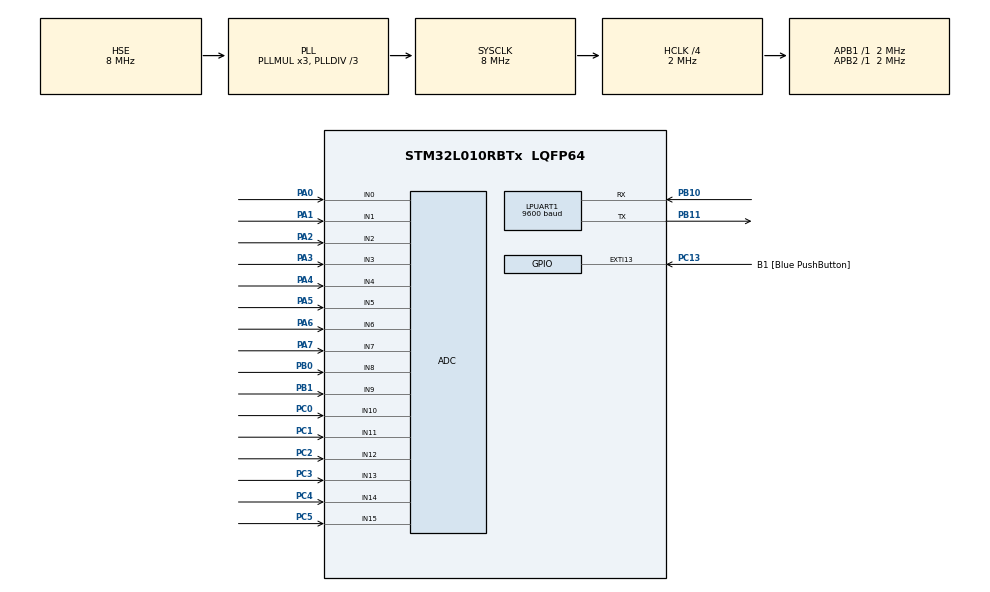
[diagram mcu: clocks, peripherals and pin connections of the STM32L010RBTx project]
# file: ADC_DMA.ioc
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ADC.ContinuousConvMode=ENABLE
ADC.DMAContinuousRequests=ENABLE
ADC.OversamplingMode=ENABLE
ADC.Ratio=ADC_OVERSAMPLING_RATIO_64
ADC.RightBitShift=ADC_RIGHTBITSHIFT_4
ADC.SamplingTime=ADC_SAMPLETIME_160CYCLES_5
Dma.ADC.0.Direction=DMA_PERIPH_TO_MEMORY
Dma.ADC.0.Instance=DMA1_Channel1
Dma.ADC.0.MemDataAlignment=DMA_MDATAALIGN_HALFWORD
Dma.ADC.0.MemInc=DMA_MINC_ENABLE
Dma.ADC.0.Mode=DMA_CIRCULAR
Dma.ADC.0.PeriphDataAlignment=DMA_PDATAALIGN_HALFWORD
Dma.ADC.0.PeriphInc=DMA_PINC_DISABLE
Dma.ADC.0.Priority=DMA_PRIORITY_LOW
Dma.Request0=ADC
LPUART1.BaudRate=9600
LPUART1.WordLength=UART_WORDLENGTH_8B
Mcu.Family=STM32L0
Mcu.Name=STM32L010RBTx
Mcu.Package=LQFP64
NVIC.DMA1_Channel1_IRQn=true\:0\:0\:false\:false\:true\:false\:true
NVIC.LPUART1_IRQn=true\:0\:0\:false\:false\:true\:true\:true
PA0.Mode=IN0
PA0.Signal=ADC_IN0
PA1.Mode=IN1
PA1.Signal=ADC_IN1
PA13.GPIO_Label=TMS
PA13.Mode=Serial_Wire
PA13.Signal=SYS_SWDIO
PA14.GPIO_Label=TCK
PA14.Mode=Serial_Wire
PA14.Signal=SYS_SWCLK
PA2.Mode=IN2
PA2.Signal=ADC_IN2
PA3.Mode=IN3
PA3.Signal=ADC_IN3
PA4.Mode=IN4
PA4.Signal=ADC_IN4
PA5.Mode=IN5
PA5.Signal=ADC_IN5
PA6.Mode=IN6
PA6.Signal=ADC_IN6
PA7.Mode=IN7
PA7.Signal=ADC_IN7
PB0.Mode=IN8
PB0.Signal=ADC_IN8
PB1.Mode=IN9
PB1.Signal=ADC_IN9
PB10.GPIO_PuPd=GPIO_PULLDOWN
PB10.GPIO_Speed=GPIO_SPEED_FREQ_LOW
PB10.Mode=Asynchronous
PB10.Signal=LPUART1_RX
PB11.GPIO_Speed=GPIO_SPEED_FREQ_LOW
PB11.Mode=Asynchronous
PB11.Signal=LPUART1_TX
PC0.Mode=IN10
PC0.Signal=ADC_IN10
PC1.Mode=IN11
PC1.Signal=ADC_IN11
PC13.GPIO_Label=B1 [Blue PushButton]
PC13.GPIO_ModeDefaultEXTI=GPIO_MODE_IT_FALLING
PC13.Signal=GPXTI13
PC14-OSC32_IN.Mode=LSE-External-Oscillator
PC14-OSC32_IN.Signal=RCC_OSC32_IN
PC15-OSC32_OUT.Mode=LSE-External-Oscillator
PC15-OSC32_OUT.Signal=RCC_OSC32_OUT
PC2.Mode=IN12
PC2.Signal=ADC_IN12
PC3.Mode=IN13
PC3.Signal=ADC_IN13
PC4.Mode=IN14
PC4.Signal=ADC_IN14
PC5.Mode=IN15
PC5.Signal=ADC_IN15
PH0-OSC_IN.GPIO_Label=MCO
PH0-OSC_IN.Mode=HSE-External-Clock-Source
PH0-OSC_IN.Signal=RCC_OSC_IN
ProjectManager.HeapSize=0x200
ProjectManager.StackSize=0x400
ProjectManager.TargetToolchain=TrueSTUDIO
RCC.AHBCLKDivider=RCC_SYSCLK_DIV4
RCC.AHBFreq_Value=2000000
RCC.APB1Freq_Value=2000000
RCC.APB1TimFreq_Value=2000000
RCC.APB2Freq_Value=2000000
RCC.APB2TimFreq_Value=2000000
RCC.HCLKFreq_Value=2000000
RCC.HSE_VALUE=8000000
RCC.HSI16_VALUE=16000000
RCC.HSI48_VALUE=48000000
RCC.HSI_VALUE=16000000
RCC.MSIClockRange=RCC_MSIRANGE_4
RCC.MSI_VALUE=1048000
RCC.PLLDIV=RCC_PLLDIV_3
RCC.PLLSourceVirtual=RCC_PLLSOURCE_HSE
RCC.SYSCLKFreq_VALUE=8000000
RCC.SYSCLKSource=RCC_SYSCLKSOURCE_PLLCLK
RCC.VCOOutputFreq_Value=24000000
VP_TIM2_VS_ClockSourceINT.Mode=Internal
board=NUCLEO-L010RB

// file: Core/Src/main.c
/* USER CODE BEGIN Header */
/**
  ******************************************************************************
  * @file           : main.c
  * @brief          : Main program body
  ******************************************************************************
  * @attention
  *
  * <h2><center>&copy; Copyright (c) 2022 STMicroelectronics.
  * All rights reserved.</center></h2>
  *
  * This software component is licensed by ST under BSD 3-Clause license,
  * the "License"; You may not use this file except in compliance with the
  * License. You may obtain a copy of the License at:
  *                        opensource.org/licenses/BSD-3-Clause
  *
  ******************************************************************************
  */
/* USER CODE END Header */
#include "main.h"

/* USER CODE BEGIN Includes */
#include <string.h>
/* USER CODE END Includes */

ADC_HandleTypeDef hadc;
DMA_HandleTypeDef hdma_adc;

UART_HandleTypeDef hlpuart1;

TIM_HandleTypeDef htim2;

/* USER CODE BEGIN PV */
void HAL_Delay(uint32_t Delay)
{
  uint32_t tickstart = HAL_GetTick();
  uint32_t wait = Delay;

  /* Add a freq to guarantee minimum wait */
  if (wait < HAL_MAX_DELAY)
  {
    wait += (uint32_t)(uwTickFreq);
  }

  while((HAL_GetTick() - tickstart) < wait)
  {
	  __WFI();
  }
}
/* USER CODE END PV */

void SystemClock_Config(void);
static void MX_GPIO_Init(void);
static void MX_DMA_Init(void);
static void MX_ADC_Init(void);
static void MX_LPUART1_UART_Init(void);
static void MX_TIM2_Init(void);

/* USER CODE BEGIN 0 */
uint16_t adcValue[16];
uint16_t adcValuesInScale[16];
char buffer;
uint8_t flagBuffer = 0;
uint8_t flagMaxVal = 0;
/* USER CODE END 0 */

int main(void)
{

  /* MCU Configuration--------------------------------------------------------*/

  /* Reset of all peripherals, Initializes the Flash interface and the Systick. */
  HAL_Init();

  /* Configure the system clock */
  SystemClock_Config();

  /* Initialize all configured peripherals */
  MX_GPIO_Init();
  MX_DMA_Init();
  MX_ADC_Init();
  MX_LPUART1_UART_Init();
  MX_TIM2_Init();
  /* USER CODE BEGIN 2 */

  HAL_Delay(200);
  HAL_GPIO_WritePin(B1_GPIO_Port, B1_Pin, SET);
  HAL_Delay(1000);
  HAL_ADCEx_Calibration_Start(&hadc, ADC_SINGLE_ENDED);
  HAL_ADC_Start_DMA(&hadc, (uint32_t*)adcValue, 16);
  HAL_ADC_Start_IT(&hadc);
  HAL_UART_Transmit(&hlpuart1, (uint8_t*)"Start_transmision", strlen("Start_transmision"), 500);
  HAL_Delay(1000);
  HAL_TIM_Base_Start_IT(&htim2);
  /* USER CODE END 2 */

  /* Infinite loop */
  /* USER CODE BEGIN WHILE */
  while (1)
  {
	  HAL_UART_Receive_IT(&hlpuart1, (uint8_t*)&buffer,1);
	  if(buffer == '1') flagBuffer = 1;
	  if(buffer == '2') flagBuffer = 0;
    /* USER CODE END WHILE */

	  uint8_t i = 0;
	  uint8_t max = 0;
	  char *adcAsChar;
	  if(flagBuffer==1){
		  char finalString[18]={0};
		  while(i<=15){
			  uint16_t y=(uint16_t)(adcValue[i]/16);
			  adcValuesInScale[i]=(-5500-300*y)/(y-3500)/2;
			  if (adcValuesInScale[i]>max) {
				  max = adcValuesInScale[i];
			  }
			  if (adcValuesInScale[i]<0) adcValuesInScale[i]=0;
			  adcValuesInScale[i] = adcValuesInScale[i]+40;
			  adcAsChar = (char*)(&adcValuesInScale[i]);
			  strcat(finalString,adcAsChar);
			  i++;
		  }
		  strncat(finalString, "\r\n",2);
		  if (max>5){
			  HAL_UART_Transmit(&hlpuart1, (uint8_t*)&finalString[0], 18, 100);
			  HAL_Delay(150);
		  } else {
			  HAL_Delay(500);
		  }

	  }
  }
}

void SystemClock_Config(void)
{
  RCC_OscInitTypeDef RCC_OscInitStruct = {0};
  RCC_ClkInitTypeDef RCC_ClkInitStruct = {0};
  RCC_PeriphCLKInitTypeDef PeriphClkInit = {0};

  /** Configure the main internal regulator output voltage
  */
  __HAL_PWR_VOLTAGESCALING_CONFIG(PWR_REGULATOR_VOLTAGE_SCALE1);
  /** Initializes the RCC Oscillators according to the specified parameters
  * in the RCC_OscInitTypeDef structure.
  */
  RCC_OscInitStruct.OscillatorType = RCC_OSCILLATORTYPE_HSE;
  RCC_OscInitStruct.HSEState = RCC_HSE_BYPASS;
  RCC_OscInitStruct.PLL.PLLState = RCC_PLL_ON;
  RCC_OscInitStruct.PLL.PLLSource = RCC_PLLSOURCE_HSE;
  RCC_OscInitStruct.PLL.PLLMUL = RCC_PLLMUL_3;
  RCC_OscInitStruct.PLL.PLLDIV = RCC_PLLDIV_3;
  if (HAL_RCC_OscConfig(&RCC_OscInitStruct) != HAL_OK)
  {
    Error_Handler();
  }
  /** Initializes the CPU, AHB and APB buses clocks
  */
  RCC_ClkInitStruct.ClockType = RCC_CLOCKTYPE_HCLK|RCC_CLOCKTYPE_SYSCLK
                              |RCC_CLOCKTYPE_PCLK1|RCC_CLOCKTYPE_PCLK2;
  RCC_ClkInitStruct.SYSCLKSource = RCC_SYSCLKSOURCE_PLLCLK;
  RCC_ClkInitStruct.AHBCLKDivider = RCC_SYSCLK_DIV4;
  RCC_ClkInitStruct.APB1CLKDivider = RCC_HCLK_DIV1;
  RCC_ClkInitStruct.APB2CLKDivider = RCC_HCLK_DIV1;

  if (HAL_RCC_ClockConfig(&RCC_ClkInitStruct, FLASH_LATENCY_0) != HAL_OK)
  {
    Error_Handler();
  }
  PeriphClkInit.PeriphClockSelection = RCC_PERIPHCLK_LPUART1;
  PeriphClkInit.Lpuart1ClockSelection = RCC_LPUART1CLKSOURCE_PCLK1;
  if (HAL_RCCEx_PeriphCLKConfig(&PeriphClkInit) != HAL_OK)
  {
    Error_Handler();
  }
}

static void MX_ADC_Init(void)
{

  ADC_ChannelConfTypeDef sConfig = {0};

  /** Configure the global features of the ADC (Clock, Resolution, Data Alignment and number of conversion)
  */
  hadc.Instance = ADC1;
  hadc.Init.OversamplingMode = ENABLE;
  hadc.Init.Oversample.Ratio = ADC_OVERSAMPLING_RATIO_64;
  hadc.Init.Oversample.RightBitShift = ADC_RIGHTBITSHIFT_4;
  hadc.Init.Oversample.TriggeredMode = ADC_TRIGGEREDMODE_SINGLE_TRIGGER;
  hadc.Init.ClockPrescaler = ADC_CLOCK_SYNC_PCLK_DIV1;
  hadc.Init.Resolution = ADC_RESOLUTION_12B;
  hadc.Init.SamplingTime = ADC_SAMPLETIME_160CYCLES_5;
  hadc.Init.ScanConvMode = ADC_SCAN_DIRECTION_FORWARD;
  hadc.Init.DataAlign = ADC_DATAALIGN_RIGHT;
  hadc.Init.ContinuousConvMode = ENABLE;
  hadc.Init.DiscontinuousConvMode = DISABLE;
  hadc.Init.ExternalTrigConvEdge = ADC_EXTERNALTRIGCONVEDGE_NONE;
  hadc.Init.ExternalTrigConv = ADC_SOFTWARE_START;
  hadc.Init.DMAContinuousRequests = ENABLE;
  hadc.Init.EOCSelection = ADC_EOC_SINGLE_CONV;
  hadc.Init.Overrun = ADC_OVR_DATA_PRESERVED;
  hadc.Init.LowPowerAutoWait = DISABLE;
  hadc.Init.LowPowerFrequencyMode = ENABLE;
  hadc.Init.LowPowerAutoPowerOff = DISABLE;
  if (HAL_ADC_Init(&hadc) != HAL_OK)
  {
    Error_Handler();
  }
  /** Configure for the selected ADC regular channel to be converted.
  */
  sConfig.Channel = ADC_CHANNEL_0;
  sConfig.Rank = ADC_RANK_CHANNEL_NUMBER;
  if (HAL_ADC_ConfigChannel(&hadc, &sConfig) != HAL_OK)
  {
    Error_Handler();
  }
  /** Configure for the selected ADC regular channel to be converted.
  */
  sConfig.Channel = ADC_CHANNEL_1;
  if (HAL_ADC_ConfigChannel(&hadc, &sConfig) != HAL_OK)
  {
    Error_Handler();
  }
  /** Configure for the selected ADC regular channel to be converted.
  */
  sConfig.Channel = ADC_CHANNEL_2;
  if (HAL_ADC_ConfigChannel(&hadc, &sConfig) != HAL_OK)
  {
    Error_Handler();
  }
  /** Configure for the selected ADC regular channel to be converted.
  */
  sConfig.Channel = ADC_CHANNEL_3;
  if (HAL_ADC_ConfigChannel(&hadc, &sConfig) != HAL_OK)
  {
    Error_Handler();
  }
  /** Configure for the selected ADC regular channel to be converted.
  */
  sConfig.Channel = ADC_CHANNEL_4;
  if (HAL_ADC_ConfigChannel(&hadc, &sConfig) != HAL_OK)
  {
    Error_Handler();
  }
  /** Configure for the selected ADC regular channel to be converted.
  */
  sConfig.Channel = ADC_CHANNEL_5;
  if (HAL_ADC_ConfigChannel(&hadc, &sConfig) != HAL_OK)
  {
    Error_Handler();
  }
  /** Configure for the selected ADC regular channel to be converted.
  */
  sConfig.Channel = ADC_CHANNEL_6;
  if (HAL_ADC_ConfigChannel(&hadc, &sConfig) != HAL_OK)
  {
    Error_Handler();
  }
  /** Configure for the selected ADC regular channel to be converted.
  */
  sConfig.Channel = ADC_CHANNEL_7;
  if (HAL_ADC_ConfigChannel(&hadc, &sConfig) != HAL_OK)
  {
    Error_Handler();
  }
  /** Configure for the selected ADC regular channel to be converted.
  */
  sConfig.Channel = ADC_CHANNEL_8;
  if (HAL_ADC_ConfigChannel(&hadc, &sConfig) != HAL_OK)
  {
    Error_Handler();
  }
  /** Configure for the selected ADC regular channel to be converted.
  */
  sConfig.Channel = ADC_CHANNEL_9;
  if (HAL_ADC_ConfigChannel(&hadc, &sConfig) != HAL_OK)
  {
    Error_Handler();
  }
  /** Configure for the selected ADC regular channel to be converted.
  */
  sConfig.Channel = ADC_CHANNEL_10;
  if (HAL_ADC_ConfigChannel(&hadc, &sConfig) != HAL_OK)
  {
    Error_Handler();
  }
  /** Configure for the selected ADC regular channel to be converted.
  */
  sConfig.Channel = ADC_CHANNEL_11;
  if (HAL_ADC_ConfigChannel(&hadc, &sConfig) != HAL_OK)
  {
    Error_Handler();
  }
  /** Configure for the selected ADC regular channel to be converted.
  */
  sConfig.Channel = ADC_CHANNEL_12;
  if (HAL_ADC_ConfigChannel(&hadc, &sConfig) != HAL_OK)
  {
    Error_Handler();
  }
  /** Configure for the selected ADC regular channel to be converted.
  */
  sConfig.Channel = ADC_CHANNEL_13;
  if (HAL_ADC_ConfigChannel(&hadc, &sConfig) != HAL_OK)
  {
    Error_Handler();
  }
  /** Configure for the selected ADC regular channel to be converted.
  */
  sConfig.Channel = ADC_CHANNEL_14;
  if (HAL_ADC_ConfigChannel(&hadc, &sConfig) != HAL_OK)
  {
    Error_Handler();
  }
  /** Configure for the selected ADC regular channel to be converted.
  */
  sConfig.Channel = ADC_CHANNEL_15;
  if (HAL_ADC_ConfigChannel(&hadc, &sConfig) != HAL_OK)
  {
    Error_Handler();
  }

}

static void MX_LPUART1_UART_Init(void)
{

  hlpuart1.Instance = LPUART1;
  hlpuart1.Init.BaudRate = 9600;
  hlpuart1.Init.WordLength = UART_WORDLENGTH_8B;
  hlpuart1.Init.StopBits = UART_STOPBITS_1;
  hlpuart1.Init.Parity = UART_PARITY_NONE;
  hlpuart1.Init.Mode = UART_MODE_TX_RX;
  hlpuart1.Init.HwFlowCtl = UART_HWCONTROL_NONE;
  hlpuart1.Init.OneBitSampling = UART_ONE_BIT_SAMPLE_DISABLE;
  hlpuart1.AdvancedInit.AdvFeatureInit = UART_ADVFEATURE_NO_INIT;
  if (HAL_UART_Init(&hlpuart1) != HAL_OK)
  {
    Error_Handler();
  }

}

static void MX_TIM2_Init(void)
{

  TIM_ClockConfigTypeDef sClockSourceConfig = {0};
  TIM_MasterConfigTypeDef sMasterConfig = {0};

  htim2.Instance = TIM2;
  htim2.Init.Prescaler = 0;
  htim2.Init.CounterMode = TIM_COUNTERMODE_UP;
  htim2.Init.Period = 65535;
  htim2.Init.ClockDivision = TIM_CLOCKDIVISION_DIV1;
  htim2.Init.AutoReloadPreload = TIM_AUTORELOAD_PRELOAD_DISABLE;
  if (HAL_TIM_Base_Init(&htim2) != HAL_OK)
  {
    Error_Handler();
  }
  sClockSourceConfig.ClockSource = TIM_CLOCKSOURCE_INTERNAL;
  if (HAL_TIM_ConfigClockSource(&htim2, &sClockSourceConfig) != HAL_OK)
  {
    Error_Handler();
  }
  sMasterConfig.MasterOutputTrigger = TIM_TRGO_RESET;
  sMasterConfig.MasterSlaveMode = TIM_MASTERSLAVEMODE_DISABLE;
  if (HAL_TIMEx_MasterConfigSynchronization(&htim2, &sMasterConfig) != HAL_OK)
  {
    Error_Handler();
  }

}

static void MX_DMA_Init(void)
{

  /* DMA controller clock enable */
  __HAL_RCC_DMA1_CLK_ENABLE();

  /* DMA interrupt init */
  /* DMA1_Channel1_IRQn interrupt configuration */
  HAL_NVIC_SetPriority(DMA1_Channel1_IRQn, 0, 0);
  HAL_NVIC_EnableIRQ(DMA1_Channel1_IRQn);

}

static void MX_GPIO_Init(void)
{
  GPIO_InitTypeDef GPIO_InitStruct = {0};

  /* GPIO Ports Clock Enable */
  __HAL_RCC_GPIOC_CLK_ENABLE();
  __HAL_RCC_GPIOH_CLK_ENABLE();
  __HAL_RCC_GPIOA_CLK_ENABLE();
  __HAL_RCC_GPIOB_CLK_ENABLE();

  /*Configure GPIO pin : B1_Pin */
  GPIO_InitStruct.Pin = B1_Pin;
  GPIO_InitStruct.Mode = GPIO_MODE_IT_FALLING;
  GPIO_InitStruct.Pull = GPIO_NOPULL;
  HAL_GPIO_Init(B1_GPIO_Port, &GPIO_InitStruct);

}

void Error_Handler(void)
{
  __disable_irq();
  while (1)
  {
  }
}

/************************ (C) COPYRIGHT STMicroelectronics *****END OF FILE****/
